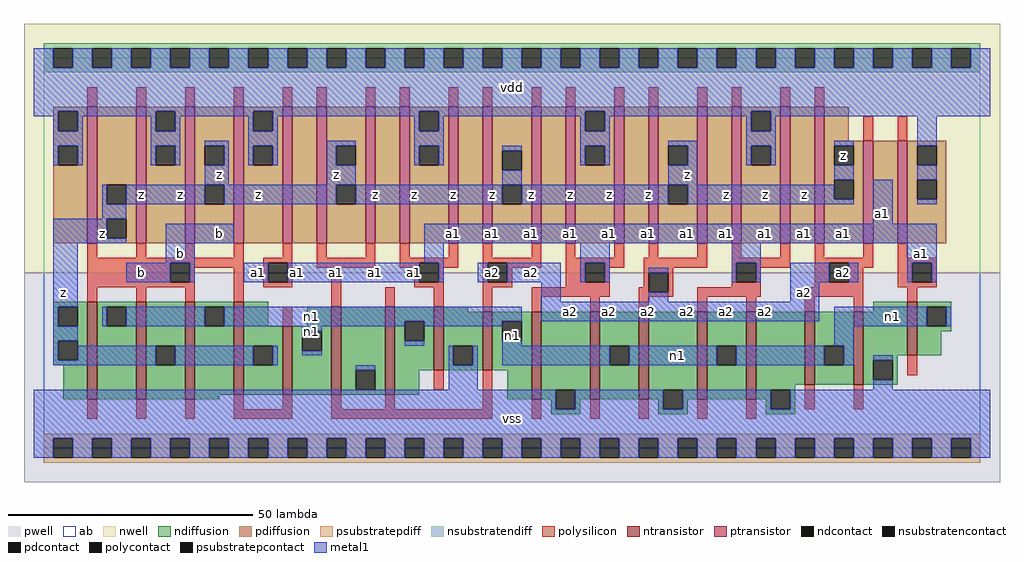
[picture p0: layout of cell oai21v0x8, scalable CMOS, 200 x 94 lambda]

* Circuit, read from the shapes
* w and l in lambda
.subckt oai21v0x8 a1 a2 b n1 vdd vss z
M1 n1 b z vss nfet w=20 l=2 m=3
M2 z b n1 vss nfet w=19 l=2
M3 n1 b z vss nfet w=14 l=2
M4 vss a2 n1 vss nfet w=18 l=2 m=3
M5 vss a1 n1 vss nfet w=13 l=2
M6 n1 a2 vss vss nfet w=12 l=2
M7 vss a1 n1 vss nfet w=18 l=2 m=4
M8 n1 a2 vss vss nfet w=15 l=2 m=2
M9 n1 a1 vss vss nfet w=11 l=2
M10 z b vdd vdd pfet w=28 l=2 m=4
M11 n2 a1 vdd vdd pfet w=28 l=2
M12 z a2 n2 vdd pfet w=28 l=2
M13 n3 a2 z vdd pfet w=28 l=2
M14 vdd a1 n3 vdd pfet w=28 l=2
M15 n4 a1 vdd vdd pfet w=28 l=2
M16 z a2 n4 vdd pfet w=28 l=2
M17 n5 a2 z vdd pfet w=28 l=2
M18 vdd a1 n5 vdd pfet w=28 l=2
M19 n6 a1 vdd vdd pfet w=28 l=2
M20 z a2 n6 vdd pfet w=28 l=2
M21 n7 a2 z vdd pfet w=28 l=2
M22 vdd a1 n7 vdd pfet w=28 l=2
M23 n8 a1 vdd vdd pfet w=28 l=2
M24 z a2 n8 vdd pfet w=28 l=2
M25 n9 a2 z vdd pfet w=21 l=2
M26 vdd a1 n9 vdd pfet w=21 l=2
.ends

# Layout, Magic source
magic
tech scmos
<< ab >>
rect 0 0 192 80
<< pwell >>
rect -4 -7 196 36
<< nwell >>
rect -4 36 196 87
<< polysilicon >>
rect 9 70 11 74
rect 19 70 21 74
rect 29 70 31 74
rect 39 70 41 74
rect 49 70 51 74
rect 56 70 58 74
rect 66 70 68 74
rect 73 70 75 74
rect 83 70 85 74
rect 90 70 92 74
rect 100 70 102 74
rect 107 70 109 74
rect 117 70 119 74
rect 124 70 126 74
rect 134 70 136 74
rect 141 70 143 74
rect 151 70 153 74
rect 158 70 160 74
rect 168 63 170 68
rect 175 63 177 68
rect 9 39 11 42
rect 19 39 21 42
rect 29 39 31 42
rect 39 39 41 42
rect 49 39 51 42
rect 9 38 41 39
rect 9 34 26 38
rect 30 37 41 38
rect 30 34 31 37
rect 9 33 31 34
rect 9 30 11 33
rect 19 30 21 33
rect 29 30 31 33
rect 39 30 41 37
rect 45 38 51 39
rect 45 34 46 38
rect 50 34 51 38
rect 56 39 58 42
rect 66 39 68 42
rect 56 37 68 39
rect 73 39 75 42
rect 83 39 85 42
rect 73 38 85 39
rect 73 37 77 38
rect 45 33 51 34
rect 59 29 61 37
rect 76 34 77 37
rect 81 37 85 38
rect 90 39 92 42
rect 100 39 102 42
rect 90 38 102 39
rect 81 34 82 37
rect 76 33 82 34
rect 70 29 72 33
rect 80 29 82 33
rect 90 34 91 38
rect 95 37 102 38
rect 107 39 109 42
rect 117 39 119 42
rect 124 39 126 42
rect 134 39 136 42
rect 107 38 119 39
rect 95 34 96 37
rect 90 33 96 34
rect 107 34 111 38
rect 115 37 119 38
rect 123 37 136 39
rect 141 39 143 42
rect 151 39 153 42
rect 141 38 153 39
rect 115 34 116 37
rect 107 33 116 34
rect 123 36 129 37
rect 123 33 124 36
rect 49 25 51 29
rect 90 28 92 33
rect 100 31 116 33
rect 122 32 124 33
rect 128 32 129 36
rect 141 34 142 38
rect 146 37 153 38
rect 158 39 160 42
rect 168 39 170 42
rect 158 38 170 39
rect 146 34 147 37
rect 141 33 147 34
rect 158 34 161 38
rect 165 37 170 38
rect 175 39 177 42
rect 175 38 183 39
rect 165 34 168 37
rect 158 33 168 34
rect 175 34 178 38
rect 182 34 183 38
rect 175 33 183 34
rect 122 31 129 32
rect 134 31 147 33
rect 156 31 168 33
rect 100 28 102 31
rect 112 28 114 31
rect 122 28 124 31
rect 134 28 136 31
rect 144 28 146 31
rect 156 28 158 31
rect 166 28 168 31
rect 177 30 179 33
rect 80 12 82 16
rect 9 6 11 10
rect 19 6 21 10
rect 29 6 31 10
rect 39 8 41 11
rect 49 8 51 11
rect 39 6 51 8
rect 59 8 61 11
rect 70 8 72 11
rect 90 8 92 16
rect 59 6 92 8
rect 100 6 102 10
rect 112 6 114 10
rect 122 6 124 10
rect 177 15 179 19
rect 134 6 136 10
rect 144 6 146 10
rect 156 8 158 13
rect 166 8 168 13
<< ndiffusion >>
rect 2 29 9 30
rect 2 25 3 29
rect 7 25 9 29
rect 2 22 9 25
rect 2 18 3 22
rect 7 18 9 22
rect 2 17 9 18
rect 4 10 9 17
rect 11 29 19 30
rect 11 25 13 29
rect 17 25 19 29
rect 11 10 19 25
rect 21 21 29 30
rect 21 17 23 21
rect 27 17 29 21
rect 21 10 29 17
rect 31 29 39 30
rect 31 25 33 29
rect 37 25 39 29
rect 31 11 39 25
rect 41 25 46 30
rect 54 25 59 29
rect 41 21 49 25
rect 41 17 43 21
rect 47 17 49 21
rect 41 11 49 17
rect 51 24 59 25
rect 51 20 53 24
rect 57 20 59 24
rect 51 11 59 20
rect 61 16 70 29
rect 61 12 64 16
rect 68 12 70 16
rect 61 11 70 12
rect 72 26 80 29
rect 72 22 74 26
rect 78 22 80 26
rect 72 16 80 22
rect 82 28 87 29
rect 170 28 177 30
rect 82 21 90 28
rect 82 17 84 21
rect 88 17 90 21
rect 82 16 90 17
rect 92 26 100 28
rect 92 22 94 26
rect 98 22 100 26
rect 92 16 100 22
rect 72 11 77 16
rect 31 10 36 11
rect 95 10 100 16
rect 102 12 112 28
rect 102 10 105 12
rect 104 8 105 10
rect 109 10 112 12
rect 114 21 122 28
rect 114 17 116 21
rect 120 17 122 21
rect 114 10 122 17
rect 124 12 134 28
rect 124 10 127 12
rect 109 8 110 10
rect 104 7 110 8
rect 126 8 127 10
rect 131 10 134 12
rect 136 21 144 28
rect 136 17 138 21
rect 142 17 144 21
rect 136 10 144 17
rect 146 13 156 28
rect 158 21 166 28
rect 158 17 160 21
rect 164 17 166 21
rect 158 13 166 17
rect 168 19 177 28
rect 179 29 186 30
rect 179 25 181 29
rect 185 25 186 29
rect 179 24 186 25
rect 179 19 184 24
rect 168 18 175 19
rect 168 14 170 18
rect 174 14 175 18
rect 168 13 175 14
rect 146 12 154 13
rect 146 10 149 12
rect 131 8 132 10
rect 126 7 132 8
rect 148 8 149 10
rect 153 8 154 12
rect 148 7 154 8
<< pdiffusion >>
rect 2 69 9 70
rect 2 65 3 69
rect 7 65 9 69
rect 2 62 9 65
rect 2 58 3 62
rect 7 58 9 62
rect 2 42 9 58
rect 11 54 19 70
rect 11 50 13 54
rect 17 50 19 54
rect 11 47 19 50
rect 11 43 13 47
rect 17 43 19 47
rect 11 42 19 43
rect 21 69 29 70
rect 21 65 23 69
rect 27 65 29 69
rect 21 62 29 65
rect 21 58 23 62
rect 27 58 29 62
rect 21 42 29 58
rect 31 62 39 70
rect 31 58 33 62
rect 37 58 39 62
rect 31 54 39 58
rect 31 50 33 54
rect 37 50 39 54
rect 31 42 39 50
rect 41 69 49 70
rect 41 65 43 69
rect 47 65 49 69
rect 41 62 49 65
rect 41 58 43 62
rect 47 58 49 62
rect 41 42 49 58
rect 51 42 56 70
rect 58 62 66 70
rect 58 58 60 62
rect 64 58 66 62
rect 58 54 66 58
rect 58 50 60 54
rect 64 50 66 54
rect 58 42 66 50
rect 68 42 73 70
rect 75 69 83 70
rect 75 65 77 69
rect 81 65 83 69
rect 75 62 83 65
rect 75 58 77 62
rect 81 58 83 62
rect 75 42 83 58
rect 85 42 90 70
rect 92 61 100 70
rect 92 57 94 61
rect 98 57 100 61
rect 92 54 100 57
rect 92 50 94 54
rect 98 50 100 54
rect 92 42 100 50
rect 102 42 107 70
rect 109 69 117 70
rect 109 65 111 69
rect 115 65 117 69
rect 109 62 117 65
rect 109 58 111 62
rect 115 58 117 62
rect 109 42 117 58
rect 119 42 124 70
rect 126 62 134 70
rect 126 58 128 62
rect 132 58 134 62
rect 126 54 134 58
rect 126 50 128 54
rect 132 50 134 54
rect 126 42 134 50
rect 136 42 141 70
rect 143 69 151 70
rect 143 65 145 69
rect 149 65 151 69
rect 143 62 151 65
rect 143 58 145 62
rect 149 58 151 62
rect 143 42 151 58
rect 153 42 158 70
rect 160 63 165 70
rect 160 62 168 63
rect 160 58 162 62
rect 166 58 168 62
rect 160 55 168 58
rect 160 51 162 55
rect 166 51 168 55
rect 160 42 168 51
rect 170 42 175 63
rect 177 62 185 63
rect 177 58 179 62
rect 183 58 185 62
rect 177 55 185 58
rect 177 51 179 55
rect 183 51 185 55
rect 177 42 185 51
<< metal1 >>
rect -2 78 2 82
rect 6 78 10 82
rect 14 78 18 82
rect 22 78 26 82
rect 30 78 34 82
rect 38 78 42 82
rect 46 78 50 82
rect 54 78 58 82
rect 62 78 66 82
rect 70 78 74 82
rect 78 78 82 82
rect 86 78 90 82
rect 94 78 98 82
rect 102 78 106 82
rect 110 78 114 82
rect 118 78 122 82
rect 126 78 130 82
rect 134 78 138 82
rect 142 78 146 82
rect 150 78 154 82
rect 158 78 162 82
rect 166 78 170 82
rect 174 78 178 82
rect 182 78 186 82
rect 190 78 194 82
rect -2 69 194 78
rect -2 68 3 69
rect 2 65 3 68
rect 7 68 23 69
rect 7 65 8 68
rect 2 62 8 65
rect 2 58 3 62
rect 7 58 8 62
rect 22 65 23 68
rect 27 68 43 69
rect 27 65 28 68
rect 22 62 28 65
rect 42 65 43 68
rect 47 68 77 69
rect 47 65 48 68
rect 22 58 23 62
rect 27 58 28 62
rect 33 62 38 63
rect 37 58 38 62
rect 42 62 48 65
rect 76 65 77 68
rect 81 68 111 69
rect 81 65 82 68
rect 42 58 43 62
rect 47 58 48 62
rect 58 62 64 63
rect 58 58 60 62
rect 76 62 82 65
rect 110 65 111 68
rect 115 68 145 69
rect 115 65 116 68
rect 110 62 116 65
rect 144 65 145 68
rect 149 68 194 69
rect 149 65 150 68
rect 76 58 77 62
rect 81 58 82 62
rect 94 61 98 62
rect 33 54 38 58
rect 58 54 64 58
rect 110 58 111 62
rect 115 58 116 62
rect 128 62 134 63
rect 132 58 134 62
rect 144 62 150 65
rect 144 58 145 62
rect 149 58 150 62
rect 162 62 166 63
rect 94 54 98 57
rect 128 54 134 58
rect 162 55 166 58
rect 179 62 183 68
rect 179 55 183 58
rect 12 50 13 54
rect 17 50 33 54
rect 37 50 60 54
rect 64 50 94 54
rect 98 50 128 54
rect 132 51 162 54
rect 132 50 166 51
rect 12 47 17 50
rect 2 43 13 47
rect 170 46 174 55
rect 179 50 183 51
rect 2 42 17 43
rect 25 42 39 46
rect 78 42 183 46
rect 2 29 7 42
rect 25 38 31 42
rect 78 38 82 42
rect 110 38 116 42
rect 17 34 26 38
rect 30 34 31 38
rect 41 34 46 38
rect 50 34 77 38
rect 81 34 82 38
rect 89 34 91 38
rect 95 34 106 38
rect 110 34 111 38
rect 115 34 116 38
rect 141 38 147 42
rect 177 38 183 42
rect 124 36 128 37
rect 102 30 106 34
rect 141 34 142 38
rect 146 34 147 38
rect 153 34 161 38
rect 165 34 167 38
rect 177 34 178 38
rect 182 34 183 38
rect 124 30 128 32
rect 153 30 159 34
rect 2 25 3 29
rect 12 25 13 29
rect 17 25 33 29
rect 37 26 98 29
rect 102 26 159 30
rect 37 25 74 26
rect 2 22 7 25
rect 2 18 3 22
rect 53 24 57 25
rect 7 18 23 21
rect 2 17 23 18
rect 27 17 43 21
rect 47 17 48 21
rect 78 25 94 26
rect 74 21 78 22
rect 94 21 98 22
rect 162 25 181 29
rect 185 25 186 29
rect 162 21 166 25
rect 53 19 57 20
rect 83 17 84 21
rect 88 17 89 21
rect 94 17 116 21
rect 120 17 138 21
rect 142 17 160 21
rect 164 17 166 21
rect 170 18 174 19
rect 64 16 68 17
rect 83 12 89 17
rect 170 12 174 14
rect -2 8 105 12
rect 109 8 127 12
rect 131 8 149 12
rect 153 8 194 12
rect -2 2 194 8
rect -2 -2 2 2
rect 6 -2 10 2
rect 14 -2 18 2
rect 22 -2 26 2
rect 30 -2 34 2
rect 38 -2 42 2
rect 46 -2 50 2
rect 54 -2 58 2
rect 62 -2 66 2
rect 70 -2 74 2
rect 78 -2 82 2
rect 86 -2 90 2
rect 94 -2 98 2
rect 102 -2 106 2
rect 110 -2 114 2
rect 118 -2 122 2
rect 126 -2 130 2
rect 134 -2 138 2
rect 142 -2 146 2
rect 150 -2 154 2
rect 158 -2 162 2
rect 166 -2 170 2
rect 174 -2 178 2
rect 182 -2 186 2
rect 190 -2 194 2
<< ntransistor >>
rect 9 10 11 30
rect 19 10 21 30
rect 29 10 31 30
rect 39 11 41 30
rect 49 11 51 25
rect 59 11 61 29
rect 70 11 72 29
rect 80 16 82 29
rect 90 16 92 28
rect 100 10 102 28
rect 112 10 114 28
rect 122 10 124 28
rect 134 10 136 28
rect 144 10 146 28
rect 156 13 158 28
rect 166 13 168 28
rect 177 19 179 30
<< ptransistor >>
rect 9 42 11 70
rect 19 42 21 70
rect 29 42 31 70
rect 39 42 41 70
rect 49 42 51 70
rect 56 42 58 70
rect 66 42 68 70
rect 73 42 75 70
rect 83 42 85 70
rect 90 42 92 70
rect 100 42 102 70
rect 107 42 109 70
rect 117 42 119 70
rect 124 42 126 70
rect 134 42 136 70
rect 141 42 143 70
rect 151 42 153 70
rect 158 42 160 70
rect 168 42 170 63
rect 175 42 177 63
<< polycontact >>
rect 26 34 30 38
rect 46 34 50 38
rect 77 34 81 38
rect 91 34 95 38
rect 111 34 115 38
rect 124 32 128 36
rect 142 34 146 38
rect 161 34 165 38
rect 178 34 182 38
<< ndcontact >>
rect 3 25 7 29
rect 3 18 7 22
rect 13 25 17 29
rect 23 17 27 21
rect 33 25 37 29
rect 43 17 47 21
rect 53 20 57 24
rect 64 12 68 16
rect 74 22 78 26
rect 84 17 88 21
rect 94 22 98 26
rect 105 8 109 12
rect 116 17 120 21
rect 127 8 131 12
rect 138 17 142 21
rect 160 17 164 21
rect 181 25 185 29
rect 170 14 174 18
rect 149 8 153 12
<< pdcontact >>
rect 3 65 7 69
rect 3 58 7 62
rect 13 50 17 54
rect 13 43 17 47
rect 23 65 27 69
rect 23 58 27 62
rect 33 58 37 62
rect 33 50 37 54
rect 43 65 47 69
rect 43 58 47 62
rect 60 58 64 62
rect 60 50 64 54
rect 77 65 81 69
rect 77 58 81 62
rect 94 57 98 61
rect 94 50 98 54
rect 111 65 115 69
rect 111 58 115 62
rect 128 58 132 62
rect 128 50 132 54
rect 145 65 149 69
rect 145 58 149 62
rect 162 58 166 62
rect 162 51 166 55
rect 179 58 183 62
rect 179 51 183 55
<< psubstratepcontact >>
rect 2 -2 6 2
rect 10 -2 14 2
rect 18 -2 22 2
rect 26 -2 30 2
rect 34 -2 38 2
rect 42 -2 46 2
rect 50 -2 54 2
rect 58 -2 62 2
rect 66 -2 70 2
rect 74 -2 78 2
rect 82 -2 86 2
rect 90 -2 94 2
rect 98 -2 102 2
rect 106 -2 110 2
rect 114 -2 118 2
rect 122 -2 126 2
rect 130 -2 134 2
rect 138 -2 142 2
rect 146 -2 150 2
rect 154 -2 158 2
rect 162 -2 166 2
rect 170 -2 174 2
rect 178 -2 182 2
rect 186 -2 190 2
<< nsubstratencontact >>
rect 2 78 6 82
rect 10 78 14 82
rect 18 78 22 82
rect 26 78 30 82
rect 34 78 38 82
rect 42 78 46 82
rect 50 78 54 82
rect 58 78 62 82
rect 66 78 70 82
rect 74 78 78 82
rect 82 78 86 82
rect 90 78 94 82
rect 98 78 102 82
rect 106 78 110 82
rect 114 78 118 82
rect 122 78 126 82
rect 130 78 134 82
rect 138 78 142 82
rect 146 78 150 82
rect 154 78 158 82
rect 162 78 166 82
rect 170 78 174 82
rect 178 78 182 82
rect 186 78 190 82
<< psubstratepdiff >>
rect 0 2 192 3
rect 0 -2 2 2
rect 6 -2 10 2
rect 14 -2 18 2
rect 22 -2 26 2
rect 30 -2 34 2
rect 38 -2 42 2
rect 46 -2 50 2
rect 54 -2 58 2
rect 62 -2 66 2
rect 70 -2 74 2
rect 78 -2 82 2
rect 86 -2 90 2
rect 94 -2 98 2
rect 102 -2 106 2
rect 110 -2 114 2
rect 118 -2 122 2
rect 126 -2 130 2
rect 134 -2 138 2
rect 142 -2 146 2
rect 150 -2 154 2
rect 158 -2 162 2
rect 166 -2 170 2
rect 174 -2 178 2
rect 182 -2 186 2
rect 190 -2 192 2
rect 0 -3 192 -2
<< nsubstratendiff >>
rect 0 82 192 83
rect 0 78 2 82
rect 6 78 10 82
rect 14 78 18 82
rect 22 78 26 82
rect 30 78 34 82
rect 38 78 42 82
rect 46 78 50 82
rect 54 78 58 82
rect 62 78 66 82
rect 70 78 74 82
rect 78 78 82 82
rect 86 78 90 82
rect 94 78 98 82
rect 102 78 106 82
rect 110 78 114 82
rect 118 78 122 82
rect 126 78 130 82
rect 134 78 138 82
rect 142 78 146 82
rect 150 78 154 82
rect 158 78 162 82
rect 166 78 170 82
rect 174 78 178 82
rect 182 78 186 82
rect 190 78 192 82
rect 0 77 192 78
<< labels >>
rlabel metal1 4 32 4 32 6 z
rlabel metal1 20 36 20 36 6 b
rlabel metal1 12 44 12 44 6 z
rlabel metal1 20 52 20 52 6 z
rlabel metal1 55 24 55 24 6 n1
rlabel metal1 60 36 60 36 6 a1
rlabel metal1 52 36 52 36 6 a1
rlabel metal1 44 36 44 36 6 a1
rlabel metal1 36 44 36 44 6 b
rlabel metal1 28 40 28 40 6 b
rlabel metal1 28 52 28 52 6 z
rlabel metal1 44 52 44 52 6 z
rlabel metal1 60 56 60 56 6 z
rlabel metal1 36 56 36 56 6 z
rlabel polycontact 92 36 92 36 6 a2
rlabel metal1 76 36 76 36 6 a1
rlabel metal1 68 36 68 36 6 a1
rlabel metal1 92 44 92 44 6 a1
rlabel metal1 84 44 84 44 6 a1
rlabel metal1 92 52 92 52 6 z
rlabel metal1 84 52 84 52 6 z
rlabel metal1 76 52 76 52 6 z
rlabel metal1 68 52 68 52 6 z
rlabel metal1 96 6 96 6 6 vss
rlabel metal1 124 28 124 28 6 a2
rlabel metal1 116 28 116 28 6 a2
rlabel metal1 108 28 108 28 6 a2
rlabel ndcontact 96 23 96 23 6 n1
rlabel metal1 55 27 55 27 6 n1
rlabel metal1 100 36 100 36 6 a2
rlabel metal1 124 44 124 44 6 a1
rlabel metal1 116 44 116 44 6 a1
rlabel metal1 108 44 108 44 6 a1
rlabel metal1 100 44 100 44 6 a1
rlabel metal1 100 52 100 52 6 z
rlabel metal1 124 52 124 52 6 z
rlabel metal1 116 52 116 52 6 z
rlabel metal1 108 52 108 52 6 z
rlabel metal1 96 74 96 74 6 vdd
rlabel metal1 148 28 148 28 6 a2
rlabel metal1 140 28 140 28 6 a2
rlabel metal1 132 28 132 28 6 a2
rlabel metal1 156 32 156 32 6 a2
rlabel metal1 156 44 156 44 6 a1
rlabel metal1 148 44 148 44 6 a1
rlabel metal1 140 44 140 44 6 a1
rlabel metal1 132 44 132 44 6 a1
rlabel metal1 156 52 156 52 6 z
rlabel metal1 148 52 148 52 6 z
rlabel metal1 140 52 140 52 6 z
rlabel metal1 132 56 132 56 6 z
rlabel metal1 130 19 130 19 6 n1
rlabel metal1 174 27 174 27 6 n1
rlabel polycontact 164 36 164 36 6 a2
rlabel metal1 180 40 180 40 6 a1
rlabel metal1 164 44 164 44 6 a1
rlabel metal1 172 48 172 48 6 a1
rlabel pdcontact 164 60 164 60 6 z
<< end >>
